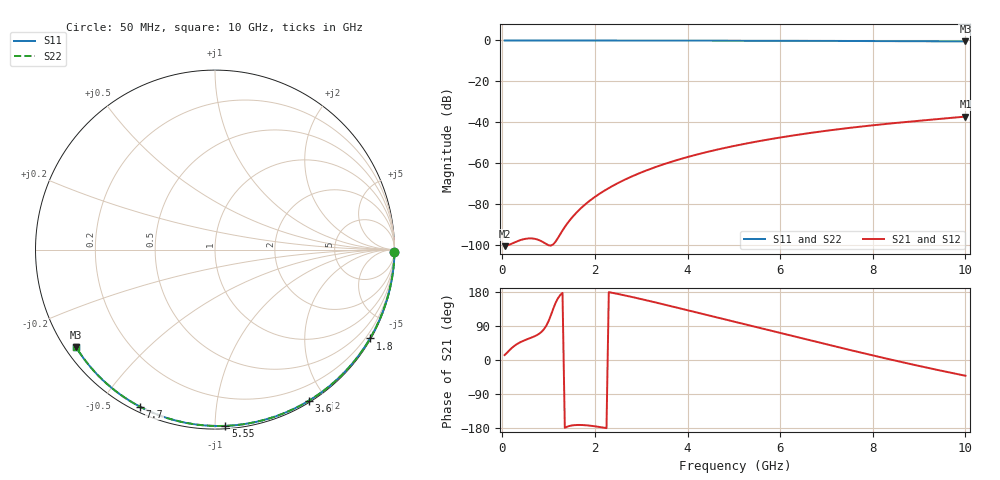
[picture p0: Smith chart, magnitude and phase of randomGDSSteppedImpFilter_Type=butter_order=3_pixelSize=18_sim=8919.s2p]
! freq	dB(S11)	phase(S11)	dB(S12)	phase(S12)
!  dB(S21)	phase(S21)	dB(S22)	phase(S22)
!S-par simulation data
#  GHz  S  DB  R 50
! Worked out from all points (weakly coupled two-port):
!   200 points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, 50 MHz to 10 GHz, reference 50 ohm
!   highest |S21| = -37.26 dB at 10 GHz (marker M1); lowest = -100.7 dB at 50 MHz (marker M2)
!   lowest |S11| = -0.5 dB at 10 GHz (marker M3), VSWR 35.97, Z = 1.53 - j15.7 ohm
!   |S11| at or under -10 dB: nowhere
!   |S22| runs from -0.5 to 0.0 dB; largest |S21 - S12| = 0
!   S11 on the Smith chart (normalised r, x): 50 MHz: open; 1.8 GHz: 0.03, -3.76; 3.6 GHz: 0.02, -1.80; 5.55 GHz: 0.02, -1.06; 7.7 GHz: 0.02, -0.63; 10 GHz: 0.03, -0.31
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0.05  -0.00 -0.8  -100.70 13.1  -100.70 13.1  -0.00 -0.8
0.45  -0.01 -7.6  -97.34 50.4  -97.34 50.4  -0.01 -7.6
0.9  -0.02 -15.1  -99.00 81.3  -99.00 81.3  -0.02 -15.1
1.3  -0.03 -21.7  -93.03 177.0  -93.03 177.0  -0.03 -21.7
1.75  -0.04 -29.0  -81.05 -171.7  -81.05 -171.7  -0.04 -29.0
1.8  -0.04 -29.8  -80.07 -172.2  -80.07 -172.2  -0.04 -29.8
2  -0.04 -33.0  -76.58 -174.9  -76.58 -174.9  -0.04 -33.0
2.15  -0.05 -35.5  -74.31 -177.7  -74.31 -177.7  -0.05 -35.5
2.5  -0.05 -41.0  -69.78 174.2  -69.78 174.2  -0.05 -41.0
2.9  -0.06 -47.3  -65.56 163.6  -65.56 163.6  -0.06 -47.3
3.4  -0.07 -55.1  -61.25 149.2  -61.25 149.2  -0.07 -55.1
3.6  -0.08 -58.1  -59.75 143.3  -59.75 143.3  -0.08 -58.1
3.9  -0.09 -62.7  -57.70 134.3  -57.70 134.3  -0.09 -62.7
4.3  -0.10 -68.6  -55.27 122.3  -55.27 122.3  -0.10 -68.6
5.05  -0.12 -79.5  -51.43 99.6  -51.43 99.6  -0.12 -79.5
5.55  -0.14 -86.6  -49.26 84.6  -49.26 84.6  -0.14 -86.6
6.1  -0.17 -94.2  -47.15 68.1  -47.15 68.1  -0.17 -94.2
6.7  -0.20 -102.3  -45.12 50.2  -45.12 50.2  -0.20 -102.3
7.7  -0.27 -115.5  -42.27 20.8  -42.27 20.8  -0.27 -115.5
8.35  -0.32 -123.9  -40.71 2.2  -40.71 2.2  -0.32 -123.9
9.2  -0.40 -134.8  -38.90 -21.0  -38.90 -21.0  -0.40 -134.8
10  -0.48 -145.0  -37.26 -41.5  -37.26 -41.5  -0.48 -145.1
